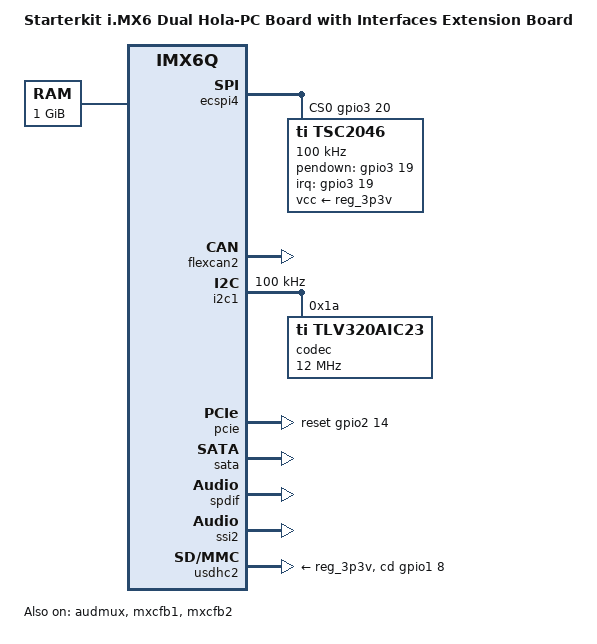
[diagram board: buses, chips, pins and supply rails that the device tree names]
/*
 * Copyright 2014 starterkit.ru
 *
 * The code contained herein is licensed under the GNU General Public
 * License V2.
 */

/dts-v1/;

#include "imx6q.dtsi"
#include "imx6qdl-hola.dtsi"

/ {
	model = "Starterkit i.MX6 Dual Hola-PC Board with Interfaces Extension Board";
	compatible = "sk,imx6q-hola", "fsl,imx6q-sabresd", "fsl,imx6q";

	memory {
		reg = <0x10000000 0x40000000>;
	};

	sound {
		compatible = "fsl,imx-audio-tlv320";
		model = "imx-tlv320";
		ssi-controller = <&ssi2>;
		audio-codec = <&codec>;
		audio-routing =
			"MICIN", "Mic Jack",
			"Headphone Jack", "LHPOUT",
			"Headphone Jack", "RHPOUT";
		mux-int-port = <2>;
		mux-ext-port = <5>;
	};

	sound-spdif {
		compatible = "fsl,imx-audio-spdif",
				"fsl,imx-sabreauto-spdif";
		model = "imx-spdif";
		spdif-controller = <&spdif>;
		spdif-out;
	};
};

&audmux {
	pinctrl-names = "default";
	pinctrl-0 = <&pinctrl_audmux_hola>;
	status = "okay";
};

&ecspi4 {
	fsl,spi-num-chipselects = <1>;
	cs-gpios = <&gpio3 20 0>;
	pinctrl-names = "default";
	pinctrl-0 = <&pinctrl_ecspi4_hola>;
	status = "okay";

	tsc2046@0 {
		compatible = "ti,tsc2046";
		reg = <0>;
		spi-max-frequency = <100000>;
		/* pen irq is GPIO3_19 */
		interrupt-parent = <&gpio3>;
		interrupts = <19 0x2>;
		pendown-gpio = <&gpio3 19 0>;
		vcc-supply = <&reg_3p3v>;

		ti,x-min = <150>;
		ti,x-max = <3830>;
		ti,y-min = <190>;
		ti,y-max = <3830>;

		linux,wakeup;
	};
};

&flexcan2 {
	pinctrl-names = "default";
	pinctrl-0 = <&pinctrl_flexcan2_hola>;
	status = "okay";
};

&i2c1 {
	pinctrl-names = "default";
	pinctrl-0 = <&pinctrl_i2c1_hola>;
	clock-frequency = <100000>;
	status = "okay";

	codec: tlv320aic23@1a {
		compatible = "ti,tlv320aic23";
		reg = <0x1a>;
		clocks = <&clks 200>;
		clock-frequency = <12000000>;
	};
};

&mxcfb1 {
	status = "okay";
};

&mxcfb2 {
	status = "okay";
};

&pcie {
	reset-gpio = <&gpio2 14 0>;
	status = "okay";
};

&sata {
	status = "okay";
};

&spdif {
	pinctrl-names = "default";
	pinctrl-0 = <&pinctrl_spdif_hola>;
	status = "okay";
};

&ssi2 {
	fsl,mode = "i2s-slave";
	status = "okay";
};

&usdhc2 {
	pinctrl-names = "default";
	pinctrl-0 = <&pinctrl_usdhc2_hola>;
	cd-gpios = <&gpio1 8 0>;            /* pin conflict with uart2 */
	vmmc-supply = <&reg_3p3v>;
	no-1-8-v;
	status = "okay";
};
